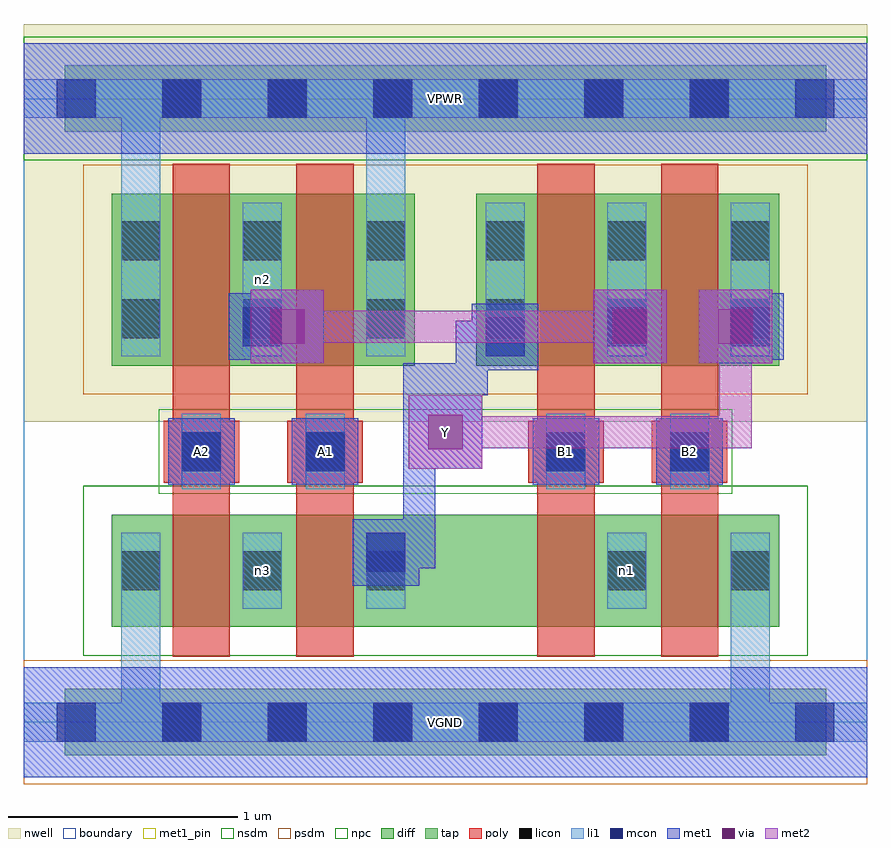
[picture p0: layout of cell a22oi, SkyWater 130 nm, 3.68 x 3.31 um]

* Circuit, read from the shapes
.subckt a22oi A1 A2 B1 B2 VGND VPWR Y n1 n2 n3
XM1 n3 A2 VGND VGND sky130_fd_pr__nfet_01v8 w=0.49 l=0.25
XM2 Y A1 n3 VGND sky130_fd_pr__nfet_01v8 w=0.49 l=0.25
XM3 n1 B1 Y VGND sky130_fd_pr__nfet_01v8 w=0.49 l=0.25
XM4 VGND B2 n1 VGND sky130_fd_pr__nfet_01v8 w=0.49 l=0.25
XM5 n2 A2 VPWR VPWR sky130_fd_pr__pfet_01v8 w=0.75 l=0.25
XM6 VPWR A1 n2 VPWR sky130_fd_pr__pfet_01v8 w=0.75 l=0.25
XM7 n2 B1 Y VPWR sky130_fd_pr__pfet_01v8 w=0.75 l=0.25
XM8 Y B2 n2 VPWR sky130_fd_pr__pfet_01v8 w=0.75 l=0.25
.ends

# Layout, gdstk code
import gdstk
lib = gdstk.Library(unit=1e-6, precision=1e-09)
def R(c, l, rs):  # rectangles x0, y0, x1, y1
    for r in rs: c.add(gdstk.rectangle(r[:2], r[2:], *l))
def A(c, l, x, y, w, h, nx, ny, dx, dy):  # array of equal rectangles
    R(c, l, [(x+i*dx, y+j*dy, x+i*dx+w, y+j*dy+h) for i in range(nx) for j in range(ny)])
nwell = (64, 20)
diff = (65, 20)
tap = (65, 44)
poly = (66, 20)
licon = (66, 44)
li1 = (67, 20)
mcon = (67, 44)
met1_pin = (68, 16)
met1 = (68, 20)
via = (68, 44)
met2 = (69, 20)
nsdm = (93, 44)
psdm = (94, 20)
npc = (95, 20)
boundary = (235, 4)

a22oi = lib.new_cell('a22oi')
R(a22oi, nwell, [(0,1.31,3.68,3.045)])
R(a22oi, diff, [(0.385,0.415,3.295,0.905), (0.385,1.555,1.705,2.305), (1.975,1.555,3.295,2.305)])
R(a22oi, tap, [(0.18,-0.145,3.5,0.145), (0.18,2.575,3.5,2.865)])
R(a22oi, poly, [(0.65,0.285,0.9,2.435), (1.19,0.285,1.44,2.435), (2.24,0.285,2.49,2.435), (2.78,0.285,3.03,2.435), (0.61,1.045,0.94,1.315), (1.15,1.045,1.48,1.315), (2.2,1.045,2.53,1.315), (2.74,1.045,3.07,1.315)])
A(a22oi, licon, 0.605, -0.085, 0.17, 0.17, 6, 2, 0.46, 2.72)
R(a22oi, licon, [(0.425,0.575,0.595,0.745), (0.955,0.575,1.125,0.745), (1.495,0.575,1.665,0.745), (2.545,0.575,2.715,0.745), (3.085,0.575,3.255,0.745), (0.69,1.095,0.86,1.265), (1.23,1.095,1.4,1.265), (2.28,1.095,2.45,1.265), (2.82,1.095,2.99,1.265), (0.425,1.675,0.595,1.845), (0.955,1.675,1.125,1.845), (1.495,1.675,1.665,1.845), (2.015,1.675,2.185,1.845), (2.545,1.675,2.715,1.845), (3.085,1.675,3.255,1.845), (0.425,2.015,0.595,2.185), (0.955,2.015,1.125,2.185), (1.495,2.015,1.665,2.185), (2.015,2.015,2.185,2.185), (2.545,2.015,2.715,2.185), (3.085,2.015,3.255,2.185)])
R(a22oi, li1, [(0,-0.085,3.68,0.085), (0.425,-0.085,0.595,0.825), (3.085,-0.085,3.255,0.825), (0.425,0.495,0.595,0.825), (0.955,0.495,1.125,0.825), (1.495,0.495,1.665,0.825), (2.545,0.495,2.715,0.825), (3.085,0.495,3.255,0.825), (0.69,1.015,0.86,1.345), (1.23,1.015,1.4,1.345), (2.28,1.015,2.45,1.345), (2.82,1.015,2.99,1.345), (0.425,1.595,0.595,2.265), (0.425,1.595,0.595,2.805), (0.955,1.595,1.125,2.265), (1.495,1.595,1.665,2.265), (1.495,1.595,1.665,2.805), (2.015,1.595,2.185,2.265), (2.545,1.595,2.715,2.265), (3.085,1.595,3.255,2.265), (0,2.635,3.68,2.805)])
A(a22oi, mcon, 0.145, -0.085, 0.17, 0.17, 8, 2, 0.46, 2.72)
R(a22oi, mcon, [(1.495,0.655,1.665,0.825), (0.69,1.095,0.86,1.265), (1.23,1.095,1.4,1.265), (2.28,1.095,2.45,1.265), (2.82,1.095,2.99,1.265), (2.015,1.595,2.185,1.765), (0.955,1.64,1.125,1.81), (2.545,1.64,2.715,1.81), (3.085,1.64,3.255,1.81)])
R(a22oi, met1_pin, [(0,-0.24,3.68,0.24), (0.63,1.035,0.92,1.325), (1.17,1.035,1.46,1.325), (2.22,1.035,2.51,1.325), (2.76,1.035,3.05,1.325), (1.68,1.105,2,1.425), (0,2.48,3.68,2.96)])
R(a22oi, met1, [(0,-0.24,3.68,0.24), (1.435,0.595,1.725,0.885), (1.51,0.67,1.795,0.81), (1.655,0.67,1.795,0.99), (1.655,0.85,1.795,1.565), (0.63,1.035,0.92,1.325), (1.17,1.035,1.46,1.325), (2.22,1.035,2.51,1.325), (2.76,1.035,3.05,1.325), (1.68,1.105,2,1.425), (1.655,1.195,1.91,1.335), (1.655,1.335,1.91,1.425), (1.655,1.425,2.025,1.565), (1.885,1.425,2.025,1.75), (1.955,1.535,2.245,1.825), (0.99,1.565,1.31,1.885), (2.485,1.565,2.805,1.885), (2.945,1.565,3.265,1.885), (0.895,1.58,1.185,1.87), (2.485,1.58,2.775,1.87), (3.025,1.58,3.315,1.87), (1.885,1.61,2.17,1.75), (0.97,1.655,1.22,1.795), (2.56,1.655,2.715,1.795), (3.035,1.655,3.24,1.795), (0,2.48,3.68,2.96)])
R(a22oi, via, [(1.765,1.19,1.915,1.34), (1.075,1.65,1.225,1.8), (2.57,1.65,2.72,1.8), (3.03,1.65,3.18,1.8)])
R(a22oi, met2, [(1.68,1.105,2,1.425), (1.77,1.195,3.175,1.335), (3.035,1.195,3.175,1.795), (0.99,1.565,1.31,1.885), (2.485,1.565,2.805,1.885), (2.945,1.565,3.265,1.885), (1.08,1.655,2.715,1.795)])
R(a22oi, nsdm, [(0.26,0.29,3.42,1.03), (0,2.45,3.68,2.99)])
R(a22oi, psdm, [(0,-0.27,3.68,0.27), (0.26,1.43,3.42,2.43)])
R(a22oi, npc, [(0.59,0.995,3.09,1.365)])
R(a22oi, boundary, [(0,0,3.68,2.72)])
a22oi.add(gdstk.Label('n3', (1.04,0.66), layer=67, texttype=5))
a22oi.add(gdstk.Label('n1', (2.63,0.66), layer=67, texttype=5))
a22oi.add(gdstk.Label('n2', (1.04,1.93), layer=67, texttype=5))
a22oi.add(gdstk.Label('A1', (1.315,1.18), layer=68, texttype=5))
a22oi.add(gdstk.Label('A2', (0.775,1.18), layer=68, texttype=5))
a22oi.add(gdstk.Label('B1', (2.365,1.18), layer=68, texttype=5))
a22oi.add(gdstk.Label('B2', (2.905,1.18), layer=68, texttype=5))
a22oi.add(gdstk.Label('Y', (1.84,1.265), layer=68, texttype=5))
a22oi.add(gdstk.Label('VPWR', (1.84,2.72), layer=68, texttype=5))
a22oi.add(gdstk.Label('VGND', (1.84,0), layer=68, texttype=5))
a22oi.add(gdstk.Label('A1', (1.315,1.18), layer=68, texttype=16))
a22oi.add(gdstk.Label('A2', (0.775,1.18), layer=68, texttype=16))
a22oi.add(gdstk.Label('B1', (2.365,1.18), layer=68, texttype=16))
a22oi.add(gdstk.Label('B2', (2.905,1.18), layer=68, texttype=16))
a22oi.add(gdstk.Label('Y', (1.84,1.265), layer=68, texttype=16))
a22oi.add(gdstk.Label('VPWR', (1.84,2.72), layer=68, texttype=16))
a22oi.add(gdstk.Label('VGND', (1.84,0), layer=68, texttype=16))

lib.write_gds('a22oi.gds')
